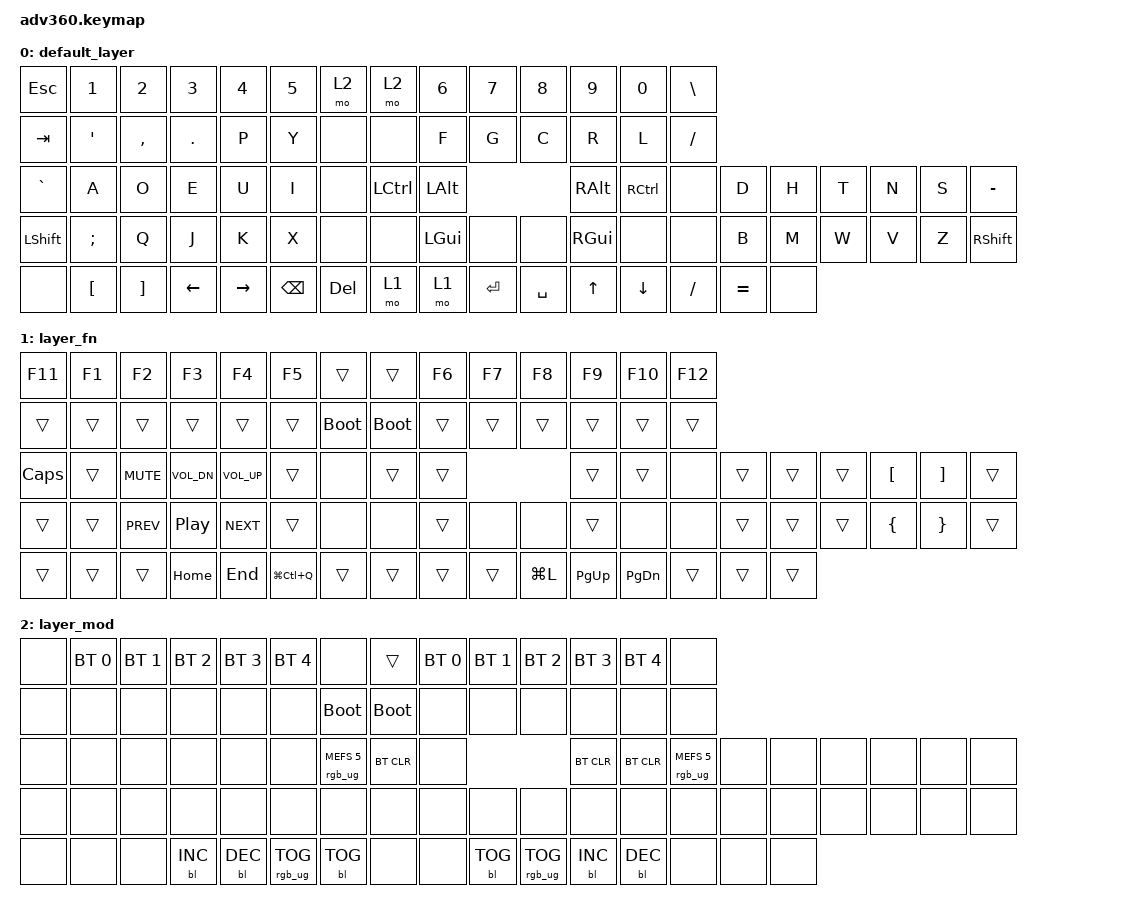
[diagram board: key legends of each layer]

/*
 * Copyright (c) 2020 The ZMK Contributors
 *
 * SPDX-License-Identifier: MIT
 */


/* THIS FILE WAS GENERATED!
 *
 * This file was generated automatically. You may or may not want to
 * edit it directly.
 */

#include <behaviors.dtsi>
#include <dt-bindings/zmk/keys.h>
#include <dt-bindings/zmk/bt.h>
#include <dt-bindings/zmk/rgb.h>
#include <dt-bindings/zmk/backlight.h>

/ {
  behaviors {
    #include "macros.dtsi"

    hm: homerow_mods {
        compatible = "zmk,behavior-hold-tap";
        label = "HOMEROW_MODS";
        #binding-cells = <2>;
        tapping-term-ms = <200>;
        quick_tap_ms = <175>;
        flavor = "tap-preferred";
        bindings = <&kp>, <&kp>;
    };
  };

    keymap {
        compatible = "zmk,keymap";


        default_layer {
            bindings = <
   &kp ESC            &kp N1     &kp N2    &kp N3     &kp N4    &kp N5              &mo 2      &mo 2    &kp N6     &kp N7     &kp N8    &kp N9     &kp N0   &kp BSLH
   &kp TAB  &kp SINGLE_QUOTE  &kp COMMA   &kp DOT      &kp P     &kp Y              &none      &none     &kp F      &kp G      &kp C     &kp R      &kp L  &kp SLASH
 &kp GRAVE             &kp A      &kp O     &kp E      &kp U     &kp I              &none  &kp LCTRL  &kp LALT                        &kp RALT  &kp RCTRL      &none      &kp D   &kp H   &kp T   &kp N   &kp S  &kp MINUS
 &kp LSHFT          &kp SEMI      &kp Q     &kp J      &kp K     &kp X              &none      &none  &kp LGUI      &none      &none  &kp RGUI      &none      &none      &kp B   &kp M   &kp W   &kp V   &kp Z  &kp RSHFT
     &none          &kp LBKT   &kp RBKT  &kp LEFT  &kp RIGHT  &kp BSPC            &kp DEL      &mo 1     &mo 1  &kp ENTER  &kp SPACE    &kp UP   &kp DOWN  &kp SLASH  &kp EQUAL   &none
            >;
        };

        layer_fn {
            bindings = <
  &kp F11  &kp F1      &kp F2        &kp F3        &kp F4         &kp F5                 &trans       &trans  &kp F6  &kp F7     &kp F8     &kp F9    &kp F10  &kp F12
   &trans  &trans      &trans        &trans        &trans         &trans            &bootloader  &bootloader  &trans  &trans     &trans     &trans     &trans   &trans
 &kp CAPS  &trans  &kp C_MUTE  &kp C_VOL_DN  &kp C_VOL_UP         &trans                  &none       &trans  &trans                        &trans     &trans    &none  &trans  &trans  &trans  &kp LBKT  &kp RBKT  &trans
   &trans  &trans  &kp C_PREV      &kp C_PP    &kp C_NEXT         &trans                  &none        &none  &trans   &none      &none     &trans      &none    &none  &trans  &trans  &trans  &kp LBRC  &kp RBRC  &trans
   &trans  &trans      &trans      &kp HOME       &kp END  &kp LG(LC(Q))                 &trans       &trans  &trans  &trans  &kp LG(L)  &kp PG_UP  &kp PG_DN   &trans  &trans  &trans
            >;
        };

        layer_mod {
            bindings = <
  &none  &bt BT_SEL 0  &bt BT_SEL 1  &bt BT_SEL 2  &bt BT_SEL 3     &bt BT_SEL 4                             &none       &trans  &bt BT_SEL 0  &bt BT_SEL 1     &bt BT_SEL 2  &bt BT_SEL 3  &bt BT_SEL 4                   &none
  &none         &none         &none         &none         &none            &none                       &bootloader  &bootloader         &none         &none            &none         &none         &none                   &none
  &none         &none         &none         &none         &none            &none            &rgb_ug RGB_MEFS_CMD 5   &bt BT_CLR         &none                                   &bt BT_CLR    &bt BT_CLR  &rgb_ug RGB_MEFS_CMD 5   &none   &none   &none   &none   &none   &none
  &none         &none         &none         &none         &none            &none                             &none        &none         &none         &none            &none         &none         &none                   &none   &none   &none   &none   &none   &none   &none
  &none         &none         &none    &bl BL_INC    &bl BL_DEC  &rgb_ug RGB_TOG                        &bl BL_TOG        &none         &none    &bl BL_TOG  &rgb_ug RGB_TOG    &bl BL_INC    &bl BL_DEC                   &none   &none   &none
            >;
        };

    };
};
